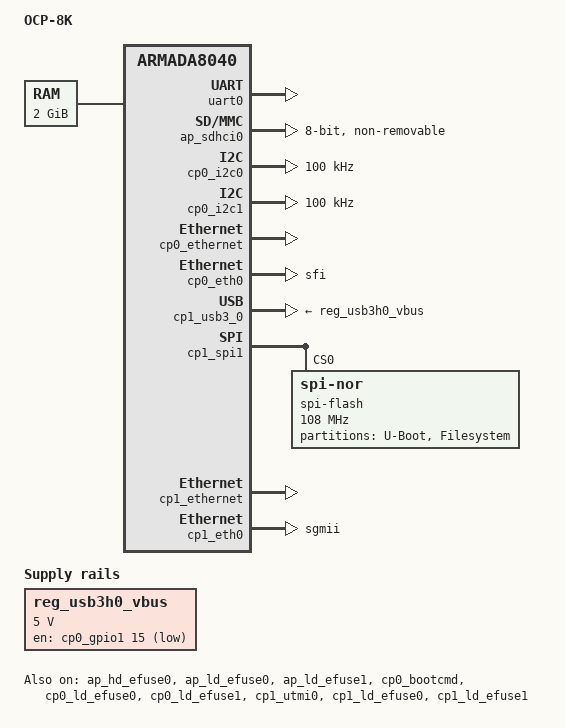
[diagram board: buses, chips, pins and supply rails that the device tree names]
// SPDX-License-Identifier: GPL-2.0+
/*
 * Copyright (C) 2018 Marvell International Ltd.
 */

#include "armada-8040.dtsi" /* include SoC device tree */

/ {
	model = "OCP-8K";	/* PCB model */
	compatible = "marvell,armada8040-ocp",
		     "marvell,armada8040";

	chosen {
		stdout-path = "serial0:115200n8";
	};

	aliases {
		i2c0 = &cp0_i2c0;
		i2c1 = &cp0_i2c1;
		spi0 = &cp1_spi1;
		gpio0 = &ap_gpio0;
		gpio1 = &cp0_gpio0;
		gpio2 = &cp0_gpio1;
		fuse1 = &ap_ld_efuse0;
		fuse2 = &ap_ld_efuse1;
		fuse3 = &cp0_ld_efuse0;
		fuse4 = &cp0_ld_efuse1;
		fuse5 = &cp1_ld_efuse0;
		fuse6 = &cp1_ld_efuse1;
	};

	memory@00000000 {
		device_type = "memory";
		reg = <0x0 0x0 0x0 0x80000000>;
	};

	simple-bus {
		compatible = "simple-bus";
		#address-cells = <1>;
		#size-cells = <0>;

		reg_usb3h0_vbus: usb3-vbus0 {
			compatible = "regulator-fixed";
			pinctrl-names = "default";
			pinctrl-0 = <&cp0_xhci_vbus_pins>;
			regulator-name = "reg-usb3h0-vbus";
			regulator-min-microvolt = <5000000>;
			regulator-max-microvolt = <5000000>;
			startup-delay-us = <300000>;
			shutdown-delay-us = <500000>;
			regulator-force-boot-off;
			gpio = <&cp0_gpio1 15 GPIO_ACTIVE_HIGH>; /* GPIO[47] */
		};
	};

	reserved-memory {
		#address-cells = <2>;
		#size-cells = <2>;
		ranges;

		/* The PCI console memory must be reserved */
		console_reserved: pci-console-nexus@3f000000 {
			compatible = "marvell,pci-console-nexus-memory";
			reg = <0 0x3f000000 0 0x1000000>;
			no-map;
		};
	};

};

/*
 * Accessible over the front panel micro USB connector CON9 or the
 * three pin header (default unsoldered) J27 where the pinout is as follows -
 * 1-GND, 2-8040 SoC RX, 3-8040 SoC TX.
 */
&uart0 {
	status = "okay";
};

&ap_hd_efuse0 {
	status = "okay";
};

&ap_ld_efuse0 {
	status = "okay";
};

&ap_ld_efuse1 {
	status = "okay";
};

&ap_pinctl {
	/*
	 * MPP Bus:
	 * eMMC [0-10]
	 * UART0 [11,19]
	 */
		  /* 0 1 2 3 4 5 6 7 8 9 */
	pin-func = < 1 1 1 1 1 1 1 1 1 1
		     1 3 2 0 0 0 0 0 0 3 >;
};

/* on-board eMMC */
&ap_sdhci0 {
	pinctrl-names = "default";
	pinctrl-0 = <&ap_emmc_pins>;
	bus-width = <8>;
	no-1-8-v;
	non-removable;
	status = "okay";
};

&cp0_bootcmd {
	status = "okay";
};

&cp0_pinctl {
/*
 * [0-32] = 0xff: Keep default CP1_shared_pins
 * [32..34] Front panel LEDs (active low)
 * [35-38] CP0 I2C1 and I2C0
 * [39] MSS_GPIO
 * [40-41] NC
 * [42] LED
 * [43] Mask system reset (active high)
 * [47] USB VBUS EN GPIO
 * [48-49] NC
 * [50,51] CP0 MSS I2C
 * [52-61] NC
 * [62] CP1 SFI SFP FAULT
 */
		  /*   0    1    2    3    4    5    6    7    8    9 */
	pin-func = < 0xff 0xff 0xff 0xff 0xff 0xff 0xff 0xff 0xff 0xff
		     0xff 0xff 0xff 0xff 0xff 0xff 0xff 0xff 0xff 0xff
		     0xff 0xff 0xff 0xff 0xff 0xff 0xff 0xff 0xff 0xff
		     0xff 0xff 0    0    0    2    2    2    2    0
		     7    7    0    0    0    0    0    0    0xff 0xff
		     0    0    0    0    0    0    0xe  0xe  0xe  0xe
		     0xe  0xe  0 >;

	cp0_xhci_vbus_pins: cp0-xhci-vbus-pins {
		marvell,pins = < 47 >;
		marvell,function = <0>;
	};
};

&cp0_i2c0 {
	pinctrl-names = "default";
	pinctrl-0 = <&cp0_i2c0_pins>;
	status = "okay";
	clock-frequency = <100000>;
};

&cp0_i2c1 {
	pinctrl-names = "default";
	pinctrl-0 = <&cp0_i2c1_pins>;
	status = "okay";
	clock-frequency = <100000>;
};

&cp0_ld_efuse0 {
	status = "okay";
};

&cp0_ld_efuse1 {
	status = "okay";
};

&cp0_comphy {
	/*
	 * CP0 Serdes Configuration:
	 * PCIex4 is connected to CP0
	 * Lane 0: IGNORE (x4)
	 * Lane 1: IGNORE (x4)
	 * Lane 2: IGNORE (x4)
	 * Lane 3: IGNORE (x4)
	 * Lane 4: SFI (10G)
	 * Lane 5: UNCONNECTED
	 */
	phy0 {
		phy-type = <COMPHY_TYPE_IGNORE>;
	};
	phy1 {
		phy-type = <COMPHY_TYPE_IGNORE>;
	};
	phy2 {
		phy-type = <COMPHY_TYPE_IGNORE>;
	};
	phy3 {
		phy-type = <COMPHY_TYPE_IGNORE>;
	};
	phy4 {
		phy-type = <COMPHY_TYPE_SFI0>;
		phy-speed = <COMPHY_SPEED_10_3125G>;
	};
	phy5 {
		phy-type = <COMPHY_TYPE_UNCONNECTED>;
	};
};

&cp0_ethernet {
	pinctrl-names = "default";
	status = "okay";
};

/* 10G SFI/copper */
&cp0_eth0 {
	status = "okay";
	phy-mode = "sfi";
	marvell,sfp-tx-disable-gpio = <&cp1_gpio0 24 GPIO_ACTIVE_HIGH>;
};

&cp1_utmi0 {
	status = "okay";
};

&cp1_usb3_0 {
	vbus-supply = <&reg_usb3h0_vbus>;
	status = "okay";
};

&cp1_pinctl {
	/*
	 * MPP Bus:
	 * [0-5] NC
	 * [6,7] UART0
	 * [8]   CP1 10G SFP LOS
	 * [9]   NC
	 * [10]  CP1 10G SFP TX Disable
	 * [11]  CP1 10G SFP Mode
	 * [12]  SPI1 CS1n
	 * [13]  SPI1 MISO (TDM and SPI ROM shared)
	 * [14]  SPI1 CS0n
	 * [15]  SPI1 MOSI (TDM and SPI ROM shared)
	 * [16]  SPI1 CLK (TDM and SPI ROM shared)
	 * [17-23] NC
	 * [24]  CP0_10G_SFP_TX_DISABLE
	 * [25]  NC
	 * [26]  CP0 10G SFP TX Fault
	 * [27]  CP0 10G SFP Mode
	 * [28]  CP0 10G SFP LOS
	 * [29]  MSS_TWSI_SDA - NOTE: set as gpio, to be used
	 *                            when MSS is used for power cooling
	 * [30]  MSS_TWSI_SDA - NOTE: set as gpio, to be used
	 *                            when MSS is used for power cooling
	 * [31]  USB Over current indication
	 * [32-62] = 0xff: Keep default CP0_shared_pins:
	 */
		/*     0    1    2    3    4    5    6    7    8    9 */
	pin-func = <  0xff 0xff 0xff 0xff 0xff 0xff 0x8  0x8  0    0xff
		      0    0    3    3    3    3    3    0xff 0xff 0xff
		      0xff 0xff 0xff 0xff 0    0xff 0    0    0    0
		      0    0    0xff 0xff 0xff 0xff 0xff 0xff 0xff 0xff
		      0xff 0xff 0xff 0xff 0xff 0xff 0xff 0xff 0xff 0xff
		      0xff 0xff 0xff 0xff 0xff 0xff 0xff 0xff 0xff 0xff
		      0xff 0xff 0xff>;
};

&cp1_spi1 {
	pinctrl-names = "default";
	pinctrl-0 = <&cp1_spi1_pins>;
	reg = <0x700680 0x50>,		/* control */
		<0x2000000 0x1000000>,	/* CS0 */
		<0 0xffffffff>;		/* CS1 */
	status = "okay";

	spi-flash@0 {
		#address-cells = <1>;
		#size-cells = <1>;
		compatible = "jedec,spi-nor", "spi-flash";
		reg = <0>;
		spi-max-frequency = <108000000>;

		partitions {
			compatible = "fixed-partitions";
			#address-cells = <1>;
			#size-cells = <1>;

			partition@0 {
				label = "U-Boot";
				reg = <0 0x200000>;
			};
			partition@400000 {
				label = "Filesystem";
				reg = <0x200000 0xce0000>;
			};
		};
	};
};

&cp1_ld_efuse0 {
	status = "okay";
};

&cp1_ld_efuse1 {
	status = "okay";
};

&cp1_comphy {
	/* check if PCI is here, else none
	 * CP1 Serdes Configuration:
	 * Lane 0: UNCONNECTED
	 * Lane 1: UNCONNECTED
	 * Lane 2: UNCONNECTED
	 * Lane 3: UNCONNECTED
	 * Lane 4: SFI (10G)
	 * Lane 5: UNCONNECTED
	 */
	phy0 {
		phy-type = <COMPHY_TYPE_UNCONNECTED>;
	};
	phy1 {
		phy-type = <COMPHY_TYPE_UNCONNECTED>;
	};
	phy2 {
		phy-type = <COMPHY_TYPE_UNCONNECTED>;
	};
	phy3 {
		phy-type = <COMPHY_TYPE_UNCONNECTED>;
	};
	phy4 {
		phy-type = <COMPHY_TYPE_SGMII0>;
		phy-speed = <COMPHY_SPEED_1_25G>;
	};
	phy5 {
		phy-type = <COMPHY_TYPE_UNCONNECTED>;
	};
};

&cp1_ethernet {
	status = "okay";
};

/* 10G SFI/copper */
&cp1_eth0 {
	status = "okay";
	phy-mode = "sgmii";
	marvell,sfp-tx-disable-gpio = <&cp1_gpio0 10 GPIO_ACTIVE_HIGH>;
};
